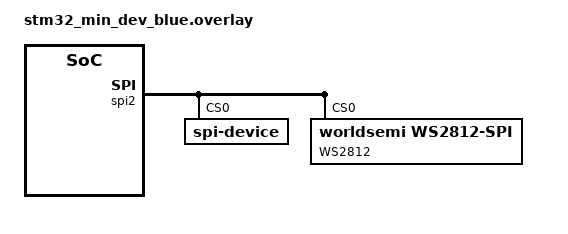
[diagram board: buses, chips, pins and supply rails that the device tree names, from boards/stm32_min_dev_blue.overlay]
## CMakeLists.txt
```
# SPDX-License-Identifier: Apache-2.0

cmake_minimum_required(VERSION 3.13.1)
SET(BOARD stm32_min_dev_blue)
SET(NO_BUILD_TYPE_WARNING 1)

SET(CONFIG_USB_RAZER_TYPE,0)
SET(CONF_FILE, prj.conf)

SET(ZEPHYR_BASE /home/benjamin/private/stm32/zephyrproject/zephyr)
list(APPEND CMAKE_PREFIX_PATH ${ZEPHYR_BASE}/share/zephyr-package/cmake)
find_package(Zephyr REQUIRED HINTS $ENV{ZEPHYR_BASE})
project(hid-mouse)


FILE(GLOB app_sources src/*.c src/effects/*.c)
target_sources(app PRIVATE ${app_sources})
```

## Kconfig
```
# Copyright (c) 2019 Nordic Semiconductor ASA
# SPDX-License-Identifier: Apache-2.0

config USB_DEVICE_PID
	default USB_PID_HID_MOUSE_SAMPLE

config USB_DEVICE_REMOTE_WAKEUP
	default y if NRFX_USBD


# Use the SPI driver by default, unless the GPIO driver is
# specifically configured in.
config SPI
	default y

source "Kconfig.zephyr"
```

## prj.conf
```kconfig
CONFIG_USB=y
CONFIG_USB_DEVICE_STACK=y
CONFIG_USB_DEVICE_HID=y
CONFIG_USB_DEVICE_MANUFACTURER="Razer"

CONFIG_LOG=y
#CONFIG_USB_DRIVER_LOG_LEVEL_ERR=y
#CONFIG_USB_DEVICE_LOG_LEVEL_ERR=y

CONFIG_GPIO=y
CONFIG_USB_DEVICE_VID=0x1532
CONFIG_USB_HID_BOOT_PROTOCOL=y
#CONFIG_LOG_BACKEND_RTT_BUFFER_SIZE=10096
#CONFIG_LOG_DEFAULT_LEVEL=4

CONFIG_USB_DEVICE_PRODUCT="Razer Chrome HDK"
#CONFIG_USB_DEVICE_PID=0x0084
CONFIG_USB_DEVICE_PID=0x0F09
CONFIG_USB_HID_DEVICE_COUNT=3
CONFIG_USB_HID_PROTOCOL_CODE=2

CONFIG_LED_STRIP=y
CONFIG_WS2812_STRIP=y
CONFIG_WS2812_STRIP_SPI=y
CONFIG_SPI_STM32=y
CONFIG_SPI_STM32_INTERRUPT=y

CONFIG_HWINFO=y

CONFIG_FLASH=y
CONFIG_FLASH_PAGE_LAYOUT=y
CONFIG_FLASH_MAP=y

CONFIG_SETTINGS=y
CONFIG_SETTINGS_RUNTIME=y
CONFIG_NVS=y
CONFIG_SETTINGS_NVS=y
```

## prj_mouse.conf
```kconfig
CONFIG_USB=y
CONFIG_USB_DEVICE_STACK=y
CONFIG_USB_DEVICE_HID=y
CONFIG_USB_DEVICE_MANUFACTURER="Razer"

CONFIG_LOG=y
CONFIG_USB_DRIVER_LOG_LEVEL_ERR=y
CONFIG_USB_DEVICE_LOG_LEVEL_ERR=y

CONFIG_GPIO=y
CONFIG_USB_DEVICE_VID=0x1532
CONFIG_USB_HID_BOOT_PROTOCOL=y
CONFIG_LOG_BACKEND_RTT_BUFFER_SIZE=10096
CONFIG_LOG_DEFAULT_LEVEL=4

CONFIG_USB_RAZER_TYPE=MOUSE
CONFIG_USB_DEVICE_PRODUCT="Razer DeathAdder V2"
CONFIG_USB_DEVICE_PID=0x0084
#CONFIG_USB_DEVICE_PID=0x0F09
CONFIG_USB_HID_DEVICE_COUNT=4
CONFIG_USB_HID_PROTOCOL_CODE=2
```

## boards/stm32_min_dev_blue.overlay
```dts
/*
 * Copyright (c) 2019, Nordic Semiconductor ASA
 *
 * SPDX-License-Identifier: Apache-2.0
 */

#include "../stm32-bindings.h"

&spi2 {
	compatible = "st,stm32-spi";
	/*pinctrl-0 = <&spi2_nss_master_pb12 &spi2_sck_master_pb13
		     &spi2_miso_master_pb14>;
	cs-gpios = <&gpiob 15 GPIO_ACTIVE_LOW>;*/
	spi-device@b {
			reg = <0>;
	};

	led_strip: ws2812@0 {
		compatible = "worldsemi,ws2812-spi";
		label = "WS2812";

		/* SPI */
		reg = <0>; /* ignored, but necessary for SPI bindings */
		spi-max-frequency = <SPI_FREQ>;

		/* WS2812 */
		chain-length = <64>; /* arbitrary; change at will */
		spi-one-frame = <ONE_FRAME>;
		spi-zero-frame = <ZERO_FRAME>;
	};
	/*status = "okay";*/
};

/ {
	aliases {
		led-strip = &led_strip;
	};
};


&flash0 {
    partitions {
        compatible = "fixed-partitions";
        #address-cells = <1>;
        #size-cells = <1>;

        /* KB for bootloader */
        boot_partition: partition@0 {
            label = "mcuboot";
            reg = <0x00000000 0xF000>;
            read-only;
        };


        /* Set 6Kb of storage at the end of the 256Kb of flash */
        storage_partition: partition@F000 {
            label = "storage";
            reg = <0x000F000 0x00001000>;
        };
    };
};
```

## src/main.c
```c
/*
 * Copyright (c) 2018 qianfan Zhao
 * Copyright (c) 2018 Nordic Semiconductor ASA
 *
 * SPDX-License-Identifier: Apache-2.0
 */
#include <zephyr.h>
#include <device.h>
#include "settings/settings.h"

#include <usb/usb_device.h>
#include <usb/class/usb_hid.h>
#include <drivers/hwinfo.h>

#include "razer.h"
#include "set_report.h"
#include "strip.h"

//#define LOG_LEVEL LOG_LEVEL_DBG
LOG_MODULE_REGISTER(main);

static volatile uint8_t status[4];
static K_SEM_DEFINE(sem, 0, 1);    /* starts off "not available" */

#define DELAY_TIME K_MSEC(10)

#define MOUSE_BTN_REPORT_POS    0
#define MOUSE_X_REPORT_POS    1
#define MOUSE_Y_REPORT_POS    2


static void status_cb(enum usb_dc_status_code status, const uint8_t *param) {
    LOG_INF("status_cb");
}


int debug_cb(const struct device *dev_data,
             struct usb_setup_packet *setup, int32_t *len,
             uint8_t **data) {
    LOG_INF("Debug callback");
    int size = *len;
    if (size > 20) {
        size = 20;
    }
    LOG_HEXDUMP_INF(*data, size, "Debug");

    return -ENOTSUP;
}

int set_idle_cb(const struct device *dev_data,
                struct usb_setup_packet *setup, int32_t *len,
                uint8_t **data) {
    LOG_INF("Set Idle callback");

    /* TODO: Do something */

    return 0;
}

/**
 * Calculate the checksum for the usb message
 *
 * Checksum byte is stored in the 2nd last byte in the messages payload.
 * The checksum is generated by XORing all the bytes in the report starting
 * at byte number 2 (0 based) and ending at byte 88.
 */
unsigned char razer_calculate_crc(struct razer_report *report) {
    /*second to last byte of report is a simple checksum*/
    /*just xor all bytes up with overflow and you are done*/
    unsigned char crc = 0;
    unsigned char *_report = (unsigned char *) report;

    unsigned int i;
    for (i = 2; i < 88; i++) {
        crc ^= _report[i];
    }

    return crc;
}

struct razer_context gContext = {0};
char init_report[23] = {0x01, 0x02, 0x00, 0xd4, 0x11, 0x01, 0x00, 0x50, 0xef, 0x01, 0x00, 0xea, 0xa6, 0x00, 0x00,
                        0x02,
                        0x00, 0x00, 0x00, 0x35, 0x82, 0x00, 0x00
};

char start_report[28] = {0x03, 0x00, 0x00, 0x10, 0x8b, 0x00, 0x00, 0x74, 0x59, 0x00, 0x00, 0x00, 0x00, 0x00, 0x00, 0xe8,
                         0x03, 0x00, 0x00, 0x04,
                         0x00, 0x00, 0x00, 0xff, 0xff, 0xff, 0x01, 0x00,};
char start2_report[28] = {0x03, 0x01, 0x00, 0x04, 0x8d, 0x00, 0x00, 0xf8, 0x6f, 0x01, 0x00, 0x00, 0x00, 0x00, 0x00,
                          0xe8, 0x03, 0x00, 0x00, 0x04,
                          0x00, 0x00, 0x00, 0xff, 0xff, 0xff, 0x01, 0x00,};

int get_report_cb(int ID, const struct device *dev_data,
                  struct usb_setup_packet *setup, int32_t *len,
                  uint8_t **data) {
    LOG_INF("Get report callback %d", ID);

    if (gContext.serial_requested) {
        *data = serial;
        *len = 90;
        gContext.serial_requested = false;
        return 0;
    }

    switch (gContext.state) {
        case STATE_INIT: {
            *data = init_report;
            *len = 23;
        }
            break;
        case STATE_START: {
            *data = start_report;
            *len = 28;
            break;
        }
        case STATE_START2: {
            *data = start2_report;
            *len = 28;
            break;
        }
        case STATE_RUNNING: {
            gContext.current_report.status = 0x02;
            gContext.current_report.crc = razer_calculate_crc(&gContext.current_report);
            memcpy(*data, (void *) &gContext.current_report, 90);
            *len = 90;
        }
            break;
        default:
            LOG_ERR("Unknown state");
            break;
    }

    return 0;
}

int get_report_cb0(const struct device *dev_data,
                   struct usb_setup_packet *setup, int32_t *len,
                   uint8_t **data) {
    return get_report_cb(0, dev_data, setup, len, data);
}

int get_report_cb1(const struct device *dev_data,
                   struct usb_setup_packet *setup, int32_t *len,
                   uint8_t **data) {
    return get_report_cb(1, dev_data, setup, len, data);
}

int get_report_cb2(const struct device *dev_data,
                   struct usb_setup_packet *setup, int32_t *len,
                   uint8_t **data) {
    return get_report_cb(2, dev_data, setup, len, data);
}

int get_report_cb3(const struct device *dev_data,
                   struct usb_setup_packet *setup, int32_t *len,
                   uint8_t **data) {
    return get_report_cb(3, dev_data, setup, len, data);
}

int get_protocol(const struct device *dev_data,
                 struct usb_setup_packet *setup, int32_t *len,
                 uint8_t **data) {
    LOG_INF("Get protocol callback");

    /* TODO: Do something */
    int size = *len;
    if (size > 20) {
        size = 20;
    }
    LOG_HEXDUMP_INF(*data, size, "Get Protocol");

    return 0;
}

int set_report(int id, const struct device *dev_data,
               struct usb_setup_packet *setup, int32_t *len,
               uint8_t **data) {
    LOG_DBG("Set report callback %d", id);

    if (*len == 90) {
        switch ((*data)[1]) {
            case 0x08:
            case 0x1f:
            case 0x0c:
            case 0x3F:
            case 0xFF: // Used by openrazer
                return parse_08_requests(id, dev_data, setup, len, data);
            default:
                LOG_ERR("Not supported %02X", (*data)[1]);
                return -ENOTSUP;
        }
    }

    LOG_ERR("Unknown set report %d", *len);

    switch ((*data)[0]) {
        case 0x02:
            switch ((*data)[1]) {
                case 0x00:
                    gContext.state = STATE_START;
                    break;
                case 0x01:
                    gContext.state = STATE_START2;
                    break;
                default:
                    LOG_ERR("Unknown set report");
                    return -ENOTSUP;
            }
            return 0;
        case 0x00:
            return 0;
        case 0x01:
            return 0;
        case 0x06:
            return 0;
        case 0x03:
            return 0;
        case 0x86:
            return 0;
        default:
            return -ENOTSUP;
    }

}

int set_report0(const struct device *dev_data,
                struct usb_setup_packet *setup, int32_t *len,
                uint8_t **data) {
    return set_report(0, dev_data, setup, len, data);
}

int set_report1(const struct device *dev_data,
                struct usb_setup_packet *setup, int32_t *len,
                uint8_t **data) {
    return set_report(1, dev_data, setup, len, data);
}

int set_report2(const struct device *dev_data,
                struct usb_setup_packet *setup, int32_t *len,
                uint8_t **data) {
    return set_report(2, dev_data, setup, len, data);
}

int set_report3(const struct device *dev_data,
                struct usb_setup_packet *setup, int32_t *len,
                uint8_t **data) {
    return set_report(3, dev_data, setup, len, data);
}

static struct hid_ops ops0 = {
        .get_report = get_report_cb0,
        .get_idle = debug_cb,
        .get_protocol = get_protocol,
        .set_report = set_report0,
        .set_idle = set_idle_cb,
};

#if CONFIG_USB_HID_DEVICE_COUNT > 1
static struct hid_ops ops1 = {
        .get_report = get_report_cb1,
        .get_idle = debug_cb,
        .get_protocol = get_protocol,
        .set_report = set_report1,
        .set_idle = set_idle_cb,
};
#endif

#if CONFIG_USB_HID_DEVICE_COUNT > 2

static struct hid_ops ops2 = {
        .get_report = get_report_cb2,
        .get_idle = debug_cb,
        .get_protocol = get_protocol,
        .set_report = set_report2,
        .set_idle = set_idle_cb,
};
#endif
#if CONFIG_USB_HID_DEVICE_COUNT > 3
static struct hid_ops ops3 = {
        .get_report = get_report_cb3,
        .get_idle = debug_cb,
        .get_protocol = get_protocol,
        .set_report = set_report3,
        .set_idle = set_idle_cb,
};
#endif

void generate_serial() {
    hwinfo_get_device_id(&serial[10], 78);
    for (int i = 10; i < 88; i++) {
        if ((serial[i] >= 0x30) && (serial[i] < 0x3A)) {

        } else if ((serial[i] >= 0x41) && (serial[i] < 0x5B)) {
        } else if ((serial[i] >= 0x61) && (serial[i] < 0x6B)) {
        } else if (serial[i] == 0) {
            break;
        } else {
            serial[i] = 0x30 + serial[i] % (10);
        }
    }
    LOG_HEXDUMP_INF(&serial[0], 90, "Serial");
}


static int foo_settings_set(const char *name, size_t len,
                            settings_read_cb read_cb, void *cb_arg) {
    const char *next;
    int rc;

    if (settings_name_steq(name, "context", &next) && !next) {
        if (len != sizeof(struct effect_config)) {
            return -EINVAL;
        }

        rc = read_cb(cb_arg, &gContext.config, sizeof(struct effect_config));
        if (rc >= 0) {
            /* key-value pair was properly read.
             * rc contains value length.
             */
            return 0;
        }
        /* read-out error */
        return rc;
    }
    LOG_INF("Couldn't save setting");

    return -ENOENT;
}

struct settings_handler my_conf = {
        .name = "foo",
        .h_set = foo_settings_set
};


void set_effect(int type, bool erase) {
    if (erase) {
        memset(&gContext.config.effect, 0, sizeof(effect_union));
    }
    switch (type) {
        case BREATH:
            gContext.config.saved_effect = BREATH;
            gContext.apply = breath;
            break;
        case WAVE:
            gContext.config.saved_effect = WAVE;
            gContext.apply = wave;
            break;
        case SPECTRUM:
            gContext.config.saved_effect = SPECTRUM;
            gContext.apply = spectrum;
            break;
        case STATIC:
        case NONE:
            gContext.config.saved_effect = STATIC;
            gContext.apply = static_;
            break;
    }
}


void main(void) {
    int ret, rc;
    uint8_t report[4] = {0x00};
    struct led_rgb row[HDK_LED_STRIP_LENGTH * 4];


    generate_serial();

    rc = settings_subsys_init();
    if (rc) {
        LOG_ERR("settings subsys initialization: fail (err %d)\n", rc);
        return;
    }

    rc = settings_register(&my_conf);
    if (rc) {
        LOG_ERR("subtree <%s> handler registered: fail (err %d)\n",
                my_conf.name, rc);
    }

    rc = settings_load();
    if (rc) {
        LOG_ERR("couldn't load settings correctly %d", rc);
        memset(&gContext.config, 0, sizeof(struct effect_config));
    }
    if (gContext.config.brightness[0] == 0) {
        gContext.config.saved_effect = SPECTRUM;
        gContext.config.brightness[0] = 255 * 10 / 100;
        gContext.config.brightness[5] = 255 * 10 / 100;
    }

    // restart effect without erasing config
    set_effect(gContext.config.saved_effect, false);

    const struct device *hid0_dev, *strip
#if CONFIG_USB_HID_DEVICE_COUNT > 1
    ,*hid1_dev
#endif
#if CONFIG_USB_HID_DEVICE_COUNT > 2
    ,*hid2_dev
#endif
#if CONFIG_USB_HID_DEVICE_COUNT > 3
    ,* hid3_dev
#endif
    ;

    strip = device_get_binding(STRIP_LABEL);
    if (strip) {
        LOG_INF("Found LED strip device %s", STRIP_LABEL);
    } else {
        LOG_ERR("LED strip device %s not found", STRIP_LABEL);
        return;
    }


    hid0_dev = device_get_binding("HID_0");
    if (hid0_dev == NULL) {
        LOG_ERR("Cannot get USB HID Device");
        return;
    }
#if CONFIG_USB_HID_DEVICE_COUNT > 1
    hid1_dev = device_get_binding("HID_1");
    if (hid1_dev == NULL) {
        LOG_ERR("Cannot get USB HID Device");
        return;
    }
#endif
#if CONFIG_USB_HID_DEVICE_COUNT > 2
    hid2_dev = device_get_binding("HID_2");
    if (hid2_dev == NULL) {
        LOG_ERR("Cannot get USB HID Device");
        return;
    }
#endif
#if CONFIG_USB_HID_DEVICE_COUNT > 3
    hid3_dev = device_get_binding("HID_3");
    if (hid3_dev == NULL) {
        LOG_ERR("Cannot get USB HID Device");
        return;
    }
#endif
    char *hid_report;
    int len = 0;
    if (!get_report_hid(0, &hid_report, &len)) {
        LOG_ERR("Cannot get report 0");
        return;
    }
    usb_hid_register_device(hid0_dev,
                            hid_report, len,
                            &ops0);
    usb_hid_init(hid0_dev);

#if CONFIG_USB_HID_DEVICE_COUNT > 1
    if (!get_report_hid(1, &hid_report, &len) )
    {
        LOG_ERR("Cannot get report 0");
        return;
    }
    usb_hid_register_device(hid1_dev,
                            hid_report, len,
                            &ops1);
    usb_hid_set_protocol(hid1_dev, 0, 1);
    usb_hid_init(hid1_dev);
#endif //CONFIG_USB_HID_DEVICE_COUNT 1
#if CONFIG_USB_HID_DEVICE_COUNT > 2
    if (!get_report_hid(2, &hid_report, &len) )
    {
        LOG_ERR("Cannot get report 0");
        return;
    }
    usb_hid_register_device(hid2_dev,
                            hid_report, len,
                            &ops2);
#if CONFIG_USB_RAZER_TYPE==1
    usb_hid_set_protocol(hid2_dev, 1, 1);
#endif
#if CONFIG_USB_RAZER_TYPE==0
    usb_hid_set_protocol(hid2_dev, 0, 2);
#endif
    usb_hid_init(hid2_dev);
#endif //CONFIG_USB_HID_DEVICE_COUNT 2
#if CONFIG_USB_HID_DEVICE_COUNT > 3
    if (!get_report_hid(3, &hid_report, &len) )
    {
        LOG_ERR("Cannot get report 0");
        return;
    }
    usb_hid_register_device(hid3_dev,
                            hid_report, len,
                            &ops3);
    usb_hid_set_protocol(hid3_dev, 0, 2);
    usb_hid_init(hid3_dev);
#endif //CONFIG_USB_HID_DEVICE_COUNT 3


    ret = usb_enable(status_cb);
    if (ret != 0) {
        LOG_ERR("Failed to enable USB");
        return;
    }

    report[MOUSE_BTN_REPORT_POS] = status[MOUSE_BTN_REPORT_POS];
    report[MOUSE_X_REPORT_POS] = status[MOUSE_X_REPORT_POS];
    status[MOUSE_X_REPORT_POS] = 0U;
    report[MOUSE_Y_REPORT_POS] = status[MOUSE_Y_REPORT_POS];
    status[MOUSE_Y_REPORT_POS] = 0U;
    ret = hid_int_ep_write(hid0_dev, report, sizeof(report), NULL);
#if CONFIG_USB_HID_DEVICE_COUNT > 1
    ret = hid_int_ep_write(hid1_dev, report, sizeof(report), NULL);
#endif //CONFIG_USB_HID_DEVICE_COUNT 1
#if CONFIG_USB_HID_DEVICE_COUNT > 2
    ret = hid_int_ep_write(hid2_dev, report, sizeof(report), NULL);
#endif //CONFIG_USB_HID_DEVICE_COUNT 2
#if CONFIG_USB_HID_DEVICE_COUNT > 3
    ret = hid_int_ep_write(hid3_dev, report, sizeof(report), NULL);
#endif //CONFIG_USB_HID_DEVICE_COUNT 3


    while (true) {
        k_sleep(DELAY_TIME);

        if (gContext.save) {
            gContext.save = false;
            LOG_INF("Saving config");
            rc = settings_save_one("foo/context", &gContext.config, sizeof(gContext.config));
            if (rc != 0) {
                LOG_ERR("Saving error %d", rc);
            }
        };

        // Check if there is an apply method defined.
        // If so call it else only copy context row to new row.
        if (gContext.apply != NULL) {
            gContext.apply(&gContext.config.effect, &row[0], STRIP_NUM_PIXELS);
        } else {
            for (int i = 0; i < STRIP_NUM_PIXELS; i++) {
                row[i].r = gContext.row[i].r;
                row[i].g = gContext.row[i].g;
                row[i].b = gContext.row[i].b;
            }
        }

        for (int i = 0; i < STRIP_NUM_PIXELS; i++) {
            row[i].r = (row[i].r * gContext.config.brightness[0]) / 255;
            row[i].g = (row[i].g * gContext.config.brightness[0]) / 255;
            row[i].b = (row[i].b * gContext.config.brightness[0]) / 255;
        }
        rc = led_strip_update_rgb(strip, &row[0], STRIP_NUM_PIXELS);

        if (rc) {
            LOG_ERR("couldn't update strip: %d", rc);
        }
    }
}
```

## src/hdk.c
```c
//
// Created by benjamin on 12/02/2021.
//
#include <zephyr.h>
#include "razer.h"

#if CONFIG_USB_RAZER_TYPE == 0
static const uint8_t hid0_report_desc[] = {
        0x05, 0x01, 0x09, 0x06, 0xa1, 0x01, 0x05, 0x07, 0x19, 0xe0, 0x29, 0xe7, 0x15, 0x00, 0x25, 0x01,
        0x75, 0x01, 0x95, 0x08, 0x81, 0x02, 0x81, 0x01, 0x19, 0x00, 0x2a, 0xff, 0x00, 0x15, 0x00, 0x26,
        0xff, 0x00, 0x75, 0x08, 0x95, 0x06, 0x81, 0x00, 0x05, 0x08, 0x19, 0x01, 0x29, 0x03, 0x15, 0x00,
        0x25, 0x01, 0x75, 0x01, 0x95, 0x03, 0x91, 0x02, 0x95, 0x05, 0x91, 0x01, 0xc0,
};

static const uint8_t hid1_report_desc[] = {
        0x05, 0x01, 0x09, 0x06, 0xa1, 0x01, 0x85, 0x01, 0x05, 0x07, 0x19, 0xe0, 0x29, 0xe7, 0x15, 0x00,
        0x25, 0x01, 0x75, 0x01, 0x95, 0x08, 0x81, 0x02, 0x19, 0x00, 0x2a, 0xff, 0x00, 0x15, 0x00, 0x26,
        0xff, 0x00, 0x75, 0x08, 0x95, 0x0e, 0x81, 0x00, 0xc0, 0x05, 0x0c, 0x09, 0x01, 0xa1, 0x01, 0x85,
        0x02, 0x19, 0x00, 0x2a, 0x3c, 0x02, 0x15, 0x00, 0x26, 0x3c, 0x02, 0x95, 0x01, 0x75, 0x10, 0x81,
        0x00, 0x75, 0x08, 0x95, 0x0d, 0x81, 0x01, 0xc0, 0x05, 0x01, 0x09, 0x80, 0xa1, 0x01, 0x85, 0x03,
        0x19, 0x81, 0x29, 0x83, 0x15, 0x00, 0x25, 0x01, 0x75, 0x01, 0x95, 0x03, 0x81, 0x02, 0x95, 0x05,
        0x81, 0x01, 0x75, 0x08, 0x95, 0x0e, 0x81, 0x01, 0xc0, 0x05, 0x01, 0x09, 0x00, 0xa1, 0x01, 0x85,
        0x04, 0x09, 0x03, 0x15, 0x00, 0x26, 0xff, 0x00, 0x35, 0x00, 0x46, 0xff, 0x00, 0x75, 0x08, 0x95,
        0x0f, 0x81, 0x00, 0xc0, 0x05, 0x01, 0x09, 0x00, 0xa1, 0x01, 0x85, 0x05, 0x09, 0x03, 0x15, 0x00,
        0x26, 0xff, 0x00, 0x35, 0x00, 0x46, 0xff, 0x00, 0x75, 0x08, 0x95, 0x0f, 0x81, 0x00, 0xc0,
};
static const uint8_t hid2_report_desc[] = {
        0x05, 0x01, 0x09, 0x02, 0xa1, 0x01, 0x09, 0x01, 0xa1, 0x00, 0x05, 0x09, 0x19, 0x01, 0x29, 0x05,
        0x15, 0x00, 0x25, 0x01, 0x75, 0x01, 0x95, 0x05, 0x81, 0x02, 0x75, 0x01, 0x95, 0x03, 0x81, 0x03,
        0x06, 0x00, 0xff, 0x09, 0x40, 0x75, 0x08, 0x95, 0x02, 0x15, 0x81, 0x25, 0x7f, 0x81, 0x02, 0x05,
        0x01, 0x09, 0x38, 0x15, 0x81, 0x25, 0x7f, 0x75, 0x08, 0x95, 0x01, 0x81, 0x06, 0x09, 0x30, 0x09,
        0x31, 0x16, 0x00, 0x80, 0x26, 0xff, 0x7f, 0x75, 0x10, 0x95, 0x02, 0x81, 0x06, 0xc0, 0x06, 0x00,
        0xff, 0x09, 0x02, 0x15, 0x00, 0x25, 0x01, 0x75, 0x08, 0x95, 0x5a, 0xb1, 0x01, 0xc0,
};

char serial[RAZER_REPORT_LENGTH] = {
        0x02, 0x08, 0x00, 0x00, 0x00, 0x16, 0x00, 0x82, 0x49, 0x4f, 0x31, 0x38, 0x34, 0x32, 0x55, 0x30,
        0x32, 0x34, 0x30, 0x30, 0x34, 0x33, 0x32, 0x00, 0x00, 0x00, 0x00, 0x00, 0x00, 0x00, 0x00, 0x00,
        0x00, 0x00, 0x00, 0x00, 0x00, 0x00, 0x00, 0x00, 0x00, 0x00, 0x00, 0x00, 0x00, 0x00, 0x00, 0x00,
        0x00, 0x00, 0x00, 0x00, 0x00, 0x00, 0x00, 0x00, 0x00, 0x00, 0x00, 0x00, 0x00, 0x00, 0x00, 0x00,
        0x00, 0x00, 0x00, 0x00, 0x00, 0x00, 0x00, 0x00, 0x00, 0x00, 0x00, 0x00, 0x00, 0x00, 0x00, 0x00,
        0x00, 0x00, 0x00, 0x00, 0x00, 0x00, 0x00, 0x00, 0xca, 0x00,
};

bool get_report_hid(int reportID, char **report, int *len) {
    switch (reportID) {
        case 0:
            *report = (char *) hid0_report_desc;
            *len = sizeof(hid0_report_desc);
            break;
#if CONFIG_USB_HID_DEVICE_COUNT > 1
            case 1:
            *report = (char*)hid1_report_desc;
            *len = sizeof(hid1_report_desc);
            break;
#endif
#if CONFIG_USB_HID_DEVICE_COUNT > 2
            case 2:
            *report = (char*)hid2_report_desc;
            *len = sizeof(hid2_report_desc);
            break;
#endif
        default:
            return false;
    }
    return true;
}

#endif
```

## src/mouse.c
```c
//
// Created by benjamin on 11/02/2021.
//

#include <zephyr.h>
#include <device.h>
#include <drivers/gpio.h>

#include <usb/usb_device.h>
#include <usb/class/usb_hid.h>

#include "razer.h"
#include "set_report.h"


#if CONFIG_USB_RAZER_TYPE == 1

static const uint8_t hid0_report_desc[] = {0x05, 0x01, 0x09, 0x02, 0xa1, 0x01, 0x09, 0x01, 0xa1, 0x00, 0x05, 0x09, 0x19,
                                           0x01, 0x29, 0x05,
                                           0x15, 0x00, 0x25, 0x01, 0x75, 0x01, 0x95, 0x05, 0x81, 0x02, 0x75, 0x01, 0x95,
                                           0x03, 0x81, 0x03,
                                           0x06, 0x00, 0xff, 0x09, 0x40, 0x75, 0x08, 0x95, 0x02, 0x15, 0x81, 0x25, 0x7f,
                                           0x81, 0x02, 0x05,
                                           0x01, 0x09, 0x38, 0x15, 0x81, 0x25, 0x7f, 0x75, 0x08, 0x95, 0x01, 0x81, 0x06,
                                           0x09, 0x30, 0x09,
                                           0x31, 0x16, 0x00, 0x80, 0x26, 0xff, 0x7f, 0x75, 0x10, 0x95, 0x02, 0x81, 0x06,
                                           0xc0, 0x06, 0x00,
                                           0xff, 0x09, 0x02, 0x15, 0x00, 0x25, 0x01, 0x75, 0x08, 0x95, 0x5a, 0xb1, 0x01,
                                           0xc0,};

static const uint8_t hid1_report_desc[] = {
        /* 0x05, 0x01,		USAGE_PAGE (Generic Desktop)		*/
        HID_GI_USAGE_PAGE, USAGE_GEN_DESKTOP,
        /* 0x09, 0x00,		USAGE (Undefined)			*/
        HID_LI_USAGE, USAGE_GEN_DESKTOP_KEYBOARD,
        /* 0xa1, 0x01,		COLLECTION (Application)		*/
        HID_MI_COLLECTION, COLLECTION_APPLICATION,
        /* 0x85, 0x01,			REPORT_ID (1)			*/
        HID_GI_REPORT_ID, 0x01,
        /* 0x05, 0x07, GLOBAL USAGE Keyboard/KeyPad */
        HID_GI_USAGE_PAGE, USAGE_GEN_DESKTOP_KEYPAD,
        /* 0x19, 0xe0, Local Item Minimum usage*/
        HID_LI_USAGE_MIN(1), 0xE0,
        /* 0x29, 0xe7, Local Item Maximum usage*/
        HID_LI_USAGE_MAX(1), 0xE7,
        /* 0x15, 0x00,			LOGICAL_MINIMUM one-byte (0)	*/
        HID_GI_LOGICAL_MIN(1), 0x00,
        /* 0x25, 0x01		LOGICAL_MAXIMUM one-byte (01)	*/
        HID_GI_LOGICAL_MAX(1), 0x01,
        /* 0x75, 0x01,			REPORT_SIZE (1) in bits		*/
        HID_GI_REPORT_SIZE, 0x01,
        /* 0x95, 0x08,			REPORT_COUNT (8)		*/
        HID_GI_REPORT_COUNT, 0x08,
        /* 0x81, 0x02 Main Item Input */
        HID_MI_INPUT, 0x02,
        /* 0x19, 0x00, Local Item Minimum usage */
        HID_LI_USAGE_MIN(1), 0x00,
        /* 0x29, 0xff, Local item Maximum usage */
        HID_LI_USAGE_MAX(2), 0xff, 0x00,
        /* 0x15, 0x00,			LOGICAL_MINIMUM one-byte (0)	*/
        HID_GI_LOGICAL_MIN(1), 0x00,
        /* 0x25, 0xff		LOGICAL_MAXIMUM one-byte (ff)	*/
        HID_GI_LOGICAL_MAX(2), 0xff, 0x00,
        /* 0x75, 0x08,			REPORT_SIZE (1) in bits		*/
        HID_GI_REPORT_SIZE, 0x08,
        /* 0x95, 0x0e,			REPORT_COUNT (14)		*/
        HID_GI_REPORT_COUNT, 0x0e,
        /* 0x81, 0x00 Main item input 0 */
        HID_MI_INPUT, 0x00,
        /* 0xc0 main item end collection */
        HID_MI_COLLECTION_END,
        /* 0x05, 0x0C Global item usage */
        HID_GI_USAGE_PAGE, 0x0C,
        /* 0x09, 0x01 Local item usage */
        HID_LI_USAGE, 0x01,

        /******************/
        /* 0xa1, 0x01 Main Item collection (application) */
        HID_MI_COLLECTION, COLLECTION_APPLICATION,
        /* 0x85, 0x02 Global Item Report ID */
        HID_GI_REPORT_ID, 0x02,
        /* 0x19, 0x00 Local Item usage minimum (0) */
        HID_LI_USAGE_MIN(1), 0x00,
        /* 0x2a, 0x3c, 0x02 Local Item usage maximum (0x23C) */
        HID_LI_USAGE_MAX(2), 0x3C, 0x02,
        /* 0x15, 0x00 Global Item usage minimum (0) */
        HID_GI_LOGICAL_MIN(1), 0x00,
        /* 0x26, 0x3c, 0x02 Glabl item Logical max (572) */
        HID_GI_LOGICAL_MAX(2), 0x3c, 0x02,
        /* 0x95, 0x01 Report Count 1 */
        HID_GI_REPORT_COUNT, 0x01,
        /* 0x75, 0x10 Report Size 16 */
        HID_GI_REPORT_SIZE, 0x10,
        /* 0x81, 0x00 Main Input */
        HID_MI_INPUT, 0x00,
        /* 0x75, 0x08 Report Size 8 */
        HID_GI_REPORT_SIZE, 0x08,
        /* 0x95, 0x01 Report Count 13 */
        HID_GI_REPORT_COUNT, 0xd,
        /* 0x81, 0x01 Main input */
        HID_MI_INPUT, 0x01,
        /* 0xc0 Main Input end collection */
        HID_MI_COLLECTION_END,
        /***********/

        /* 0x05, 0x01 Global item usage 1 */
        HID_GI_USAGE_PAGE, 0x01,
        /* 0x09, 0x80 Local Item Usage */
        HID_LI_USAGE, 0x80,
        /* 0xa1, 0x01 Main item collection (application) */
        HID_MI_COLLECTION, COLLECTION_APPLICATION,
        /* 0x85, 0x03 Global Item Report ID */
        HID_GI_REPORT_ID, 0x03,
        /* 0x19, 0x81, Local usage minimum */
        HID_LI_USAGE_MIN(1), 0x81,
        /* 0x29, 0x83, Local usage maximum */
        HID_LI_USAGE_MAX(1), 0x83,
        /* 0x15, 0x00 Global Logical Usage min */
        HID_GI_LOGICAL_MIN(1), 0x00,
        /* 0x25, 0x01 Global logical usage max */
        HID_GI_LOGICAL_MAX(1), 0x01,
        /* 0x75, 0x01 Report size */
        HID_GI_REPORT_SIZE, 0x01,
        /* 0x95, 0x03 Report Count */
        HID_GI_REPORT_COUNT, 0x03,
        /* 0x81, 0x02 Main Input */
        HID_MI_INPUT, 0x02,
        /* 0x95, 0x05 Report Count */
        HID_GI_REPORT_COUNT, 0x05,
        /* 0x81, 0x01 Main Input */
        HID_MI_INPUT, 0x01,
        /* 0x75, 0x08 Report Size */
        HID_GI_REPORT_SIZE, 0x08,
        /* 0x95, 0x0E Report count */
        HID_GI_REPORT_COUNT, 0x0E,
        /* 0x81, 0x01 Main input */
        HID_MI_INPUT, 0x01,
        /* 0xc0 Main collection end */
        HID_MI_COLLECTION_END,
        /*******/

        /*******/
        /* 0x05, 0x01 Global item usage */
        HID_GI_USAGE_PAGE, 0x01,
        /* 0x09, 0x00 Local item usage */
        HID_LI_USAGE, 0x00,
        /* 0xa1, 0x01 Main Collection (application) */
        HID_MI_COLLECTION, COLLECTION_APPLICATION,
        /* 0x85, 0x04 Report ID */
        HID_GI_REPORT_ID, 0x04,
        /* 0x09, 0x03 Local usage */
        HID_LI_USAGE, 0x03,
        /* 0x15, 0x00 Global Logical min */
        HID_GI_LOGICAL_MIN(1), 0x00,
        /* 0x26 0xFF, 0x00 Global logical max */
        HID_GI_LOGICAL_MAX(2), 0xff, 0x00,
        /* 0x35, 0x00 Global physical min */
        0x35, 0x00,
        /* 0x46, 0xff, 0x00 Global physical max */
        0x46, 0xff, 0x00,
        /* 0x75, 0x08 Report size */
        HID_GI_REPORT_SIZE, 0x08,
        /* 0x95, 0x03 Report count */
        HID_GI_REPORT_COUNT, 0x03,
        /* 0x81, 0x00 Main input */
        HID_MI_INPUT, 0x00,
        /* 0xc0 MI end */
        HID_MI_COLLECTION_END,
        /*********/

        /* 0x05, 0x01 Global item usage */
        HID_GI_USAGE_PAGE, 0x01,
        /* 0x09, 0x00 Local item usage 0x00 */
        HID_LI_USAGE, 0x00,

        /*******/
        /* 0xa1, 0x01 Main collection (application) */
        HID_MI_COLLECTION, COLLECTION_APPLICATION,
        /* 0x85, 0x05  Report ID */
        HID_GI_REPORT_ID, 0x05,
        /* 0x09, 0x03 local item usage 0x03 */
        HID_LI_USAGE, 0x03,
        /* 0x15, 0x00 Global logical min */
        HID_GI_LOGICAL_MIN(1), 0x00,
        /* 0x26, 0xff, 0x00 Gloabl logical max */
        HID_GI_LOGICAL_MAX(2), 0xff, 0x00,
        /* 0x35, 0x00 Global physical min */
        0x35, 0x00,
        /* 0x46, 0xff, 0x00 Global physical max */
        0x46, 0xff, 0x00,
        /* 0x75, 0x08, Report size */
        HID_GI_REPORT_SIZE, 0x08,
        /* 0x95,0x0F, Report count */
        HID_GI_REPORT_COUNT, 0x0F,
        /* 0x81, 0x00  Main Input */
        HID_MI_INPUT, 0x00,
        /* 0xC0 MI collection end */
        HID_MI_COLLECTION_END,
};

static const uint8_t hid2_report_desc[] = {0x05, 0x01, 0x09, 0x06, 0xa1, 0x01, 0x05, 0x07, 0x19, 0xe0, 0x29, 0xe7, 0x15,
                                           0x00, 0x25, 0x01,
                                           0x75, 0x01, 0x95, 0x08, 0x81, 0x02, 0x81, 0x01, 0x19, 0x00, 0x2a, 0xff, 0x00,
                                           0x15, 0x00, 0x26,
                                           0xff, 0x00, 0x75, 0x08, 0x95, 0x06, 0x81, 0x00, 0x05, 0x08, 0x19, 0x01, 0x29,
                                           0x03, 0x15, 0x00,
                                           0x25, 0x01, 0x75, 0x01, 0x95, 0x03, 0x91, 0x02, 0x95, 0x05, 0x91, 0x01, 0xc0,
};
static const uint8_t hid3_report_desc[] = {0x05, 0x59, 0x09, 0x01, 0xa1, 0x01, 0x85, 0x01, 0x09, 0x02, 0xa1, 0x02, 0x09,
                                           0x03, 0x15, 0x00,
                                           0x27, 0xff, 0xff, 0x00, 0x00, 0x75, 0x10, 0x95, 0x01, 0xb1, 0x03, 0x09, 0x04,
                                           0x09, 0x05, 0x09,
                                           0x06, 0x09, 0x07, 0x09, 0x08, 0x15, 0x00, 0x27, 0xff, 0xff, 0xff, 0x7f, 0x75,
                                           0x20, 0x95, 0x05,
                                           0xb1, 0x03, 0xc0, 0x85, 0x02, 0x09, 0x20, 0xa1, 0x02, 0x09, 0x21, 0x15, 0x00,
                                           0x27, 0xff, 0xff,
                                           0x00, 0x00, 0x75, 0x10, 0x95, 0x01, 0xb1, 0x02, 0xc0, 0x85, 0x03, 0x09, 0x22,
                                           0xa1, 0x02, 0x09,
                                           0x21, 0x15, 0x00, 0x27, 0xff, 0xff, 0x00, 0x00, 0x75, 0x10, 0x95, 0x01, 0xb1,
                                           0x02, 0x09, 0x23,
                                           0x09, 0x24, 0x09, 0x25, 0x09, 0x27, 0x09, 0x26, 0x15, 0x00, 0x27, 0xff, 0xff,
                                           0xff, 0x7f, 0x75,
                                           0x20, 0x95, 0x05, 0xb1, 0x02, 0x09, 0x28, 0x09, 0x29, 0x09, 0x2a, 0x09, 0x2c,
                                           0x09, 0x2d, 0x15,
                                           0x00, 0x26, 0xff, 0x00, 0x75, 0x08, 0x95, 0x05, 0xb1, 0x02, 0xc0, 0x85, 0x04,
                                           0x09, 0x50, 0xa1,
                                           0x02, 0x09, 0x03, 0x09, 0x55, 0x15, 0x00, 0x25, 0x08, 0x75, 0x08, 0x95, 0x02,
                                           0xb1, 0x02, 0x09,
                                           0x21, 0x15, 0x00, 0x27, 0xff, 0xff, 0x00, 0x00, 0x75, 0x10, 0x95, 0x08, 0xb1,
                                           0x02, 0x09, 0x51,
                                           0x09, 0x52, 0x09, 0x53, 0x09, 0x51, 0x09, 0x52, 0x09, 0x53, 0x09, 0x51, 0x09,
                                           0x52, 0x09, 0x53,
                                           0x09, 0x51, 0x09, 0x52, 0x09, 0x53, 0x09, 0x51, 0x09, 0x52, 0x09, 0x53, 0x09,
                                           0x51, 0x09, 0x52,
                                           0x09, 0x53, 0x09, 0x51, 0x09, 0x52, 0x09, 0x53, 0x09, 0x51, 0x09, 0x52, 0x09,
                                           0x53, 0x15, 0x00,
                                           0x26, 0xff, 0x00, 0x75, 0x08, 0x95, 0x18, 0xb1, 0x02, 0xc0, 0x85, 0x05, 0x09,
                                           0x60, 0xa1, 0x02,
                                           0x09, 0x55, 0x15, 0x00, 0x25, 0x08, 0x75, 0x08, 0x95, 0x01, 0xb1, 0x02, 0x09,
                                           0x61, 0x09, 0x62,
                                           0x15, 0x00, 0x27, 0xff, 0xff, 0x00, 0x00, 0x75, 0x10, 0x95, 0x02, 0xb1, 0x02,
                                           0x09, 0x51, 0x09,
                                           0x52, 0x09, 0x53, 0x15, 0x00, 0x26, 0xff, 0x00, 0x75, 0x08, 0x95, 0x03, 0xb1,
                                           0x02, 0xc0, 0x85,
                                           0x06, 0x09, 0x70, 0xa1, 0x02, 0x09, 0x71, 0x15, 0x00, 0x25, 0x01, 0x75, 0x08,
                                           0x95, 0x01, 0xb1,
                                           0x02, 0xc0, 0x85, 0x07, 0x06, 0x00, 0xff, 0x15, 0x00, 0x26, 0xff, 0x00, 0x09,
                                           0x02, 0x75, 0x08,
                                           0x95, 0x3f, 0xb1, 0x02, 0xc0
};

const char serial[90] = {0x02, 0x08, 0x00, 0x00, 0x00, 0x16, 0x00, 0x82, 0x50, 0x4d, 0x32, 0x30, 0x30, 0x31, 0x48, 0x31,
                         0x34,
                         0x34, 0x33, 0x38,
                         0x36, 0x38, 0x33, 0x00, 0x00, 0x00, 0x00, 0x00, 0x00, 0x00, 0x00, 0x00, 0x00, 0x00, 0x00, 0x00,
                         0x00, 0x00, 0x00, 0x00, 0x00, 0x00, 0x00, 0x00, 0x00, 0x00, 0x00, 0x00, 0x00, 0x00, 0x00, 0x00,
                         0x00, 0x00, 0x00, 0x00, 0x00, 0x00, 0x00, 0x00, 0x00, 0x00, 0x00, 0x00, 0x00, 0x00, 0x00, 0x00,
                         0x00, 0x00, 0x00, 0x00, 0x00, 0x00, 0x00, 0x00, 0x00, 0x00, 0x00, 0x00, 0x00, 0x00, 0x00, 0x00,
                         0x00, 0x00, 0x00, 0x00, 0xc2, 0x00,};

bool get_report_hid(int reportID, char **report, int *len) {
    switch (reportID) {
        case 0:
            *report = hid0_report_desc;
            *len = sizeof(hid0_report_desc);
            break;
#if CONFIG_USB_HID_DEVICE_COUNT > 1
            case 1:
                *report = hid1_report_desc;
                *len = sizeof(hid1_report_desc);
                break;
#endif
#if CONFIG_USB_HID_DEVICE_COUNT > 2
            case 2:
                *report = hid2_report_desc;
                *len = sizeof(hid2_report_desc);
                break;
#endif
#if CONFIG_USB_HID_DEVICE_COUNT > 3
            case 3:
                *report = hid3_report_desc;
                *len = sizeof(hid3_report_desc);
                break;
#endif
        default:
            return false;
    }
    return true;
}


#endif
```

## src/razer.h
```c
//
// Created by benjamin on 09/02/2021.
//

#ifndef HID_MOUSE_RAZER_H
#define HID_MOUSE_RAZER_H

#include <drivers/led_strip.h>

#include "strip.h"
#include "effects/effects.h"
#include "effects/breath.h"
#include "effects/wave.h"
#include "effects/spectrum.h"

union transaction_id_union {
    unsigned char id;
    struct transaction_parts {
        unsigned char device: 3;
        unsigned char id: 5;
    } parts;
};

union command_id_union {
    unsigned char id;
    struct command_id_parts {
        unsigned char direction: 1;
        unsigned char id: 7;
    } parts;
};

/* Status:
 * 0x00 New Command
 * 0x01 Command Busy
 * 0x02 Command Successful
 * 0x03 Command Failure
 * 0x04 Command No Response / Command Timeout
 * 0x05 Command Not Support
 *
 * Transaction ID used to group request-response, device useful when multiple devices are on one usb
 * Remaining Packets is the number of remaining packets in the sequence
 * Protocol Type is always 0x00
 * Data Size is the size of payload, cannot be greater than 80. 90 = header (8B) + data + CRC (1B) + Reserved (1B)
 * Command Class is the type of command being issued
 * Command ID is the type of command being send. Direction 0 is Host->Device, Direction 1 is Device->Host. AKA Get LED 0x80, Set LED 0x00
 *
 * */

struct razer_report {
    unsigned char status;
    union transaction_id_union transaction_id; /* */
    unsigned short remaining_packets; /* Big Endian */
    unsigned char protocol_type; /*0x0*/
    unsigned char data_size;
    unsigned char command_class;
    union command_id_union command_id;
    unsigned char arguments[80];
    unsigned char crc;/*xor'ed bytes of report*/
    unsigned char reserved; /*0x0*/
};
#define HDK_LED_STRIP_LENGTH 16

struct effect_config {
    effect_union effect;
    char brightness[18];
    uint8_t saved_effect;
};

struct razer_context {
    bool serial_requested;
    struct razer_report current_report;
    uint8_t state;
    struct led_rgb row[HDK_LED_STRIP_LENGTH * 4];
    bool save;
    struct effect_config config;
    apply_effect apply;
};

struct rgb {
    uint8_t r, g, b;
};

struct row_req {
    char skip[2];
    char row;
    char first, last;
    struct rgb leds[STRIP_NUM_PIXELS];
};

extern struct razer_context gContext;

#define STATE_INIT 0
#define STATE_START 1
#define STATE_RUNNING 2
#define STATE_START2 3

bool get_report_hid(int reportID, char **report, int *len);

#define RAZER_REPORT_LENGTH 90
extern char serial[RAZER_REPORT_LENGTH];

void set_effect(int effect, bool erase);

#endif //HID_MOUSE_RAZER_H
```

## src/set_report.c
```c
//
// Created by benjamin on 10/02/2021.
//
#include <zephyr.h>
#include <device.h>

#include <usb/usb_device.h>

#include "razer.h"
#include "set_report.h"
#include "strip.h"

//#define LOG_LEVEL LOG_LEVEL_DBG
LOG_MODULE_REGISTER(set_report);


int parse_08_requests(int id, const struct device *dev_data,
                      struct usb_setup_packet *setup, int32_t *len,
                      uint8_t **data) {
    if (*len < RAZER_REPORT_LENGTH) return -ENOTSUP;
    struct row_req *req;
    struct razer_report *report = &gContext.current_report;
    memcpy(&gContext.current_report, *data, *len);
    gContext.state = STATE_RUNNING;

    LOG_HEXDUMP_DBG(*data, *len, "set report");

    switch (report->command_class) {
        case 0x0f: {
            // Extended command
            switch (report->command_id.id) {
                case 0x84:
                    // Get brightness
                    report->arguments[2] = gContext.config.brightness[report->arguments[1]];

                    return 0;
                case 0x04:

                    // Set brightness or get brightness;
                    gContext.config.brightness[report->arguments[1]] = report->arguments[2];
#if CONFIG_USB_RAZER_TYPE == 0
                    if (report->arguments[1] == 0x00) {
                        gContext.config.brightness[0x05] = report->arguments[2];
                    }
#endif
                    gContext.save = true;
                    return 0;
                case 0x03:
                    // gContext.config.saved_effect = CUSTOM;
                    // This sets the configuration for the line:
                    req = (struct row_req *) &report->arguments;
                    for (int i = 0; i <= (req->last - req->first); i++) {
                        gContext.row[req->row * HDK_LED_STRIP_LENGTH + req->first + i].r = req->leds[i].r;
                        gContext.row[req->row * HDK_LED_STRIP_LENGTH + req->first + i].g = req->leds[i].g;
                        gContext.row[req->row * HDK_LED_STRIP_LENGTH + req->first + i].b = req->leds[i].b;
                    }
                    gContext.apply = NULL;
                    return 0;
                case 0x02: {
                    // Set effect now we need to dissect the effect.
                    switch (report->arguments[2]) {
                        case 0x02:
                            LOG_INF("Breath");
                            set_effect(BREATH, true);
                            gContext.config.effect.breath.color_count = report->arguments[3];
                            switch (gContext.config.effect.breath.color_count) {
                                case 0x02:
                                    gContext.config.effect.breath.colors[1].r = report->arguments[9];
                                    gContext.config.effect.breath.colors[1].g = report->arguments[10];
                                    gContext.config.effect.breath.colors[1].b = report->arguments[11];
                                case 0x01:
                                    gContext.config.effect.breath.colors[0].r = report->arguments[6];
                                    gContext.config.effect.breath.colors[0].g = report->arguments[7];
                                    gContext.config.effect.breath.colors[0].b = report->arguments[8];
                            }
                            break;
                        case 0x07:
                            LOG_INF("Starlight");
                            break;
                        case 0x04:
                            LOG_INF("Wave");
                            set_effect(WAVE, true);
                            gContext.config.effect.wave.direction = report->arguments[3];
                            break;
                        case 0x03:
                            LOG_INF("Spectrum");
                            set_effect(SPECTRUM, true);
                            break;
                        case 0x01:
                            LOG_INF("Static");
                            set_effect(STATIC, true);
                            gContext.config.effect.static_.color.r = report->arguments[6];
                            gContext.config.effect.static_.color.g = report->arguments[7];
                            gContext.config.effect.static_.color.b = report->arguments[8];
                            break;
                        case 0x86:
                            LOG_INF("SET DPI??");
                            break;
                        case 0x00: {
                            LOG_INF("SET None");
                            set_effect(STATIC, true);
                            // None is static with no led set.
                            break;
                        }
                        default:
                            LOG_ERR("Unknown effect %02X", report->arguments[2]);
                    }
                    gContext.save = report->arguments[0]==1;
                    break;
                }
                default:
                    LOG_ERR("Unhandled %02X", report->command_id.id);

            }
        }
            break;
        case 0x00: {
            switch (report->command_id.id) {
                case 0x82:
                    //gContext.serial_requested = true;
                    memcpy(report, serial, RAZER_REPORT_LENGTH);
                    break;
                case 0xB5:
                    // Number of plugged in lines

                    report->arguments[1] = HDK_LED_STRIP_LENGTH; // Force only one HDK plugged in
                    if (STRIP_NUM_PIXELS > HDK_LED_STRIP_LENGTH) {
                        report->arguments[2] = HDK_LED_STRIP_LENGTH;
                    }
                    if (STRIP_NUM_PIXELS > HDK_LED_STRIP_LENGTH * 2) {
                        report->arguments[3] = HDK_LED_STRIP_LENGTH;
                    }
                    if (STRIP_NUM_PIXELS > HDK_LED_STRIP_LENGTH * 3) {
                        report->arguments[4] = HDK_LED_STRIP_LENGTH;
                    }
                    break;
                case 0x04:
                    // Set mode for the device;
                    break;
                default:
                    LOG_HEXDUMP_ERR(*data, *len, "Unknown report command id");
            }
            break;
        }
        case 0x03: {
            switch (report->command_id.id) {
                case 0x83: // Get brightness standard
                    report->arguments[2] = gContext.config.brightness[report->arguments[1]];
                    break;
                case 0x82: // Get led effect standard
                case 0x87:
                    // Force answer. Don't know why we have this 0x03
#if CONFIG_USB_RAZER_TYPE == 1
                    report->arguments[2] = 0x03; // 0x05 was on the HDK
#elif CONFIG_USB_RAZER_TYPE == 0
                    report->arguments[2] = 0x05; // 0x05 was on the HDK
#endif//CONFIG_USB_RAZER_TYPE == 1
                    //report->arguments[2] = 0x03; // 0x05 was on the HDK
                case 0x85:
                case 0x86:
                    report->arguments[0] = 0x01;
            }
        }
            break;
        default:
            LOG_INF("Unhandled command class %02X", report->command_class);
            break;
    }

    return 0;
}
```

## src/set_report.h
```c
//
// Created by benjamin on 10/02/2021.
//

#ifndef HID_MOUSE_GET_REPORT_H
#define HID_MOUSE_GET_REPORT_H

int parse_08_requests(int id, const struct device *dev_data,
                      struct usb_setup_packet *setup, int32_t *len,
                      uint8_t **data);
#endif //HID_MOUSE_GET_REPORT_H
```

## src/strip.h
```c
//
// Created by benjamin on 14/02/2021.
//

#ifndef HID_MOUSE_STRIP_H
#define HID_MOUSE_STRIP_H

#define STRIP_LABEL        DT_LABEL(DT_ALIAS(led_strip))
#define STRIP_NUM_PIXELS    DT_PROP(DT_ALIAS(led_strip), chain_length)

#endif //HID_MOUSE_STRIP_H
```
